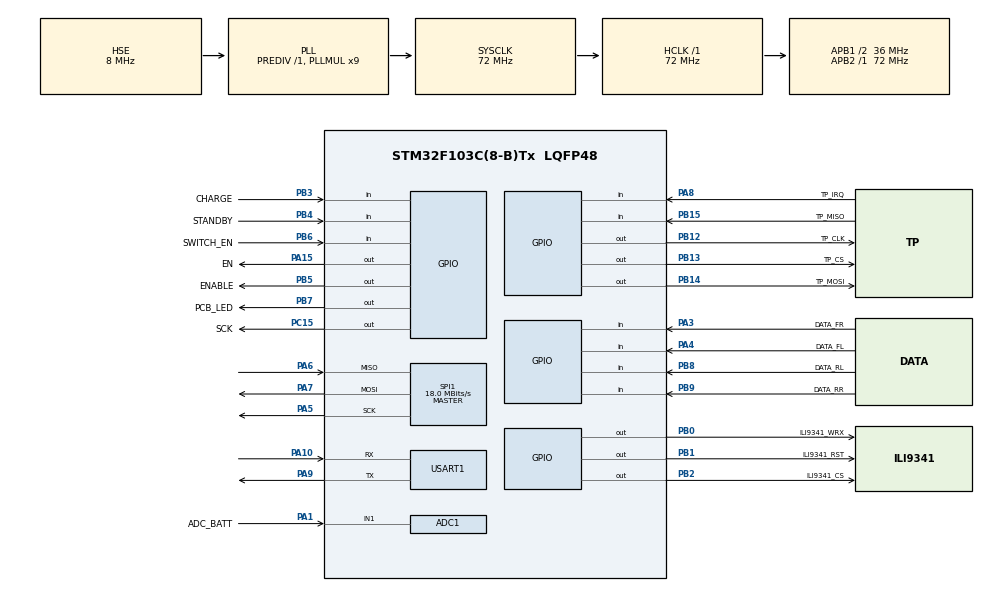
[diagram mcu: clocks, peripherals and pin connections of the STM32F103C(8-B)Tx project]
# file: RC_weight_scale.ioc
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ADC1.Channel-134\#ChannelRegularConversion=ADC_CHANNEL_1
ADC1.ContinuousConvMode=ENABLE
ADC1.DataAlign=ADC_DATAALIGN_RIGHT
ADC1.DiscontinuousConvMode=DISABLE
ADC1.EnableAnalogWatchDog=false
ADC1.EnableRegularConversion=ENABLE
ADC1.ExternalTrigConv=ADC_SOFTWARE_START
ADC1.InjNumberOfConversion=0
ADC1.NbrOfConversion=1
ADC1.NbrOfConversionFlag=1
ADC1.Rank-134\#ChannelRegularConversion=1
ADC1.SamplingTime-134\#ChannelRegularConversion=ADC_SAMPLETIME_71CYCLES_5
ADC1.ScanConvMode=ADC_SCAN_DISABLE
ADC1.master=1
Dma.ADC1.0.Direction=DMA_PERIPH_TO_MEMORY
Dma.ADC1.0.Instance=DMA1_Channel1
Dma.ADC1.0.MemDataAlignment=DMA_MDATAALIGN_WORD
Dma.ADC1.0.MemInc=DMA_MINC_ENABLE
Dma.ADC1.0.Mode=DMA_CIRCULAR
Dma.ADC1.0.PeriphDataAlignment=DMA_PDATAALIGN_WORD
Dma.ADC1.0.PeriphInc=DMA_PINC_DISABLE
Dma.ADC1.0.Priority=DMA_PRIORITY_LOW
Dma.Request0=ADC1
IWDG.Prescaler=IWDG_PRESCALER_64
Mcu.Family=STM32F1
Mcu.Name=STM32F103C(8-B)Tx
Mcu.Package=LQFP48
NVIC.DMA1_Channel1_IRQn=true\:0\:0\:false\:false\:true\:false
NVIC.PVD_IRQn=true\:0\:0\:false\:false\:true\:true
NVIC.PriorityGroup=NVIC_PRIORITYGROUP_4
NVIC.TIM1_UP_IRQn=true\:0\:0\:false\:false\:true\:true
PA1.GPIO_Label=ADC_BATT
PA1.Signal=ADCx_IN1
PA10.Mode=Asynchronous
PA10.Signal=USART1_RX
PA13.Mode=Serial_Wire
PA13.Signal=SYS_JTMS-SWDIO
PA14.Mode=Serial_Wire
PA14.Signal=SYS_JTCK-SWCLK
PA15.GPIO_Label=EN
PA15.Signal=GPIO_Output
PA3.GPIO_Label=DATA_FR
PA3.Signal=GPIO_Input
PA4.GPIO_Label=DATA_FL
PA4.Signal=GPIO_Input
PA5.Mode=Full_Duplex_Master
PA5.Signal=SPI1_SCK
PA6.Mode=Full_Duplex_Master
PA6.Signal=SPI1_MISO
PA7.Mode=Full_Duplex_Master
PA7.Signal=SPI1_MOSI
PA8.GPIO_Label=TP_IRQ
PA8.Signal=GPIO_Input
PA9.Mode=Asynchronous
PA9.Signal=USART1_TX
PB0.GPIO_Label=ILI9341_WRX
PB0.Signal=GPIO_Output
PB1.GPIO_Label=ILI9341_RST
PB1.Signal=GPIO_Output
PB12.GPIO_Label=TP_CLK
PB12.Signal=GPIO_Output
PB13.GPIO_Label=TP_CS
PB13.Signal=GPIO_Output
PB14.GPIO_Label=TP_MOSI
PB14.Signal=GPIO_Output
PB15.GPIO_Label=TP_MISO
PB15.Signal=GPIO_Input
PB2.GPIO_Label=ILI9341_CS
PB2.Signal=GPIO_Output
PB3.GPIO_Label=CHARGE
PB3.Signal=GPIO_Input
PB4.GPIO_Label=STANDBY
PB4.Signal=GPIO_Input
PB5.GPIO_Label=ENABLE
PB5.PinState=GPIO_PIN_SET
PB5.Signal=GPIO_Output
PB6.GPIO_Label=SWITCH_EN
PB6.GPIO_PuPd=GPIO_PULLDOWN
PB6.Signal=GPIO_Input
PB7.GPIO_Label=PCB_LED
PB7.Signal=GPIO_Output
PB8.GPIO_Label=DATA_RL
PB8.Signal=GPIO_Input
PB9.GPIO_Label=DATA_RR
PB9.Signal=GPIO_Input
PC15-OSC32_OUT.GPIO_Label=SCK
PC15-OSC32_OUT.Signal=GPIO_Output
PD0-OSC_IN.Mode=HSE-External-Oscillator
PD0-OSC_IN.Signal=RCC_OSC_IN
PD1-OSC_OUT.Mode=HSE-External-Oscillator
PD1-OSC_OUT.Signal=RCC_OSC_OUT
ProjectManager.HeapSize=0x200
ProjectManager.StackSize=0x400
ProjectManager.TargetToolchain=SW4STM32
RCC.ADCPresc=RCC_ADCPCLK2_DIV6
RCC.AHBFreq_Value=72000000
RCC.APB1CLKDivider=RCC_HCLK_DIV2
RCC.APB1Freq_Value=36000000
RCC.APB1TimFreq_Value=72000000
RCC.APB2Freq_Value=72000000
RCC.APB2TimFreq_Value=72000000
RCC.HCLKFreq_Value=72000000
RCC.PLLMUL=RCC_PLL_MUL9
RCC.PLLSourceVirtual=RCC_PLLSOURCE_HSE
RCC.SYSCLKFreq_VALUE=72000000
RCC.SYSCLKSource=RCC_SYSCLKSOURCE_PLLCLK
RCC.USBFreq_Value=48000000
RCC.USBPrescaler=RCC_USBCLKSOURCE_PLL_DIV1_5
SH.ADCx_IN1.0=ADC1_IN1,IN1
SPI1.BaudRatePrescaler=SPI_BAUDRATEPRESCALER_4
SPI1.CalculateBaudRate=18.0 MBits/s
SPI1.Direction=SPI_DIRECTION_2LINES
SPI1.Mode=SPI_MODE_MASTER
SPI1.VirtualType=VM_MASTER
TIM1.Period=1000
TIM1.Prescaler=71
USART1.VirtualMode=VM_ASYNC
VP_CRC_VS_CRC.Mode=CRC_Activate
VP_IWDG_VS_IWDG.Mode=IWDG_Activate
VP_TIM1_VS_ClockSourceINT.Mode=Internal
board=RC_weight_scale

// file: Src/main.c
/**
 ******************************************************************************
 * @file           : main.c
 * @brief          : Main program body
 ******************************************************************************
 ** This notice applies to any and all portions of this file
 * that are not between comment pairs USER CODE BEGIN and
 * USER CODE END. Other portions of this file, whether
 * inserted by the user or by software development tools
 * are owned by their respective copyright owners.
 *
 * COPYRIGHT(c) 2018 STMicroelectronics
 *
 * Redistribution and use in source and binary forms, with or without modification,
 * are permitted provided that the following conditions are met:
 *   1. Redistributions of source code must retain the above copyright notice,
 *      this list of conditions and the following disclaimer.
 *   2. Redistributions in binary form must reproduce the above copyright notice,
 *      this list of conditions and the following disclaimer in the documentation
 *      and/or other materials provided with the distribution.
 *   3. Neither the name of STMicroelectronics nor the names of its contributors
 *      may be used to endorse or promote products derived from this software
 *      without specific prior written permission.
 *
 * THIS SOFTWARE IS PROVIDED BY THE COPYRIGHT HOLDERS AND CONTRIBUTORS "AS IS"
 * AND ANY EXPRESS OR IMPLIED WARRANTIES, INCLUDING, BUT NOT LIMITED TO, THE
 * IMPLIED WARRANTIES OF MERCHANTABILITY AND FITNESS FOR A PARTICULAR PURPOSE ARE
 * DISCLAIMED. IN NO EVENT SHALL THE COPYRIGHT HOLDER OR CONTRIBUTORS BE LIABLE
 * FOR ANY DIRECT, INDIRECT, INCIDENTAL, SPECIAL, EXEMPLARY, OR CONSEQUENTIAL
 * DAMAGES (INCLUDING, BUT NOT LIMITED TO, PROCUREMENT OF SUBSTITUTE GOODS OR
 * SERVICES; LOSS OF USE, DATA, OR PROFITS; OR BUSINESS INTERRUPTION) HOWEVER
 * CAUSED AND ON ANY THEORY OF LIABILITY, WHETHER IN CONTRACT, STRICT LIABILITY,
 * OR TORT (INCLUDING NEGLIGENCE OR OTHERWISE) ARISING IN ANY WAY OUT OF THE USE
 * OF THIS SOFTWARE, EVEN IF ADVISED OF THE POSSIBILITY OF SUCH DAMAGE.
 *
 ******************************************************************************
 */
#include "main.h"
#include "stm32f1xx_hal.h"
#include "adc.h"
#include "crc.h"
#include "dma.h"
#include "iwdg.h"
#include "spi.h"
#include "tim.h"
#include "usart.h"
#include "gpio.h"

/* USER CODE BEGIN Includes */
#include "time.h"
#include "hx711.h"
#include "tm_stm32_ili9341.h"
#include "ILI9341_STM32_Driver.h"
#include "ILI9341_GFX.h"
#include "ILI9341_Touchscreen.h"
#include "menu.h"
#include "time.h"
#include "flash_ee.h"
#include "FlashEE.h"
#include <math.h>
#include "flash.h"
//#include "core_cm0.h"
/* USER CODE END Includes */

/* USER CODE BEGIN PV */
/* Private variables ---------------------------------------------------------*/
uint8_t ch;
static uint8_t wait_tmr = NO_TIMER, turn_off_tmr = NO_TIMER;
uint8_t pwm_value = 0;
bool countup = 1;

flash_ee_t gram;

uint8_t turn_off = 1;

uint16_t battery_voltage;
uint16_t ADC1_buf[2];
/* USER CODE END PV */

void SystemClock_Config(void);

/* USER CODE BEGIN PFP */
/* Private function prototypes -----------------------------------------------*/

/* USER CODE END PFP */

int main(void)
{

	/* MCU Configuration----------------------------------------------------------*/

	/* Reset of all peripherals, Initializes the Flash interface and the Systick. */
	HAL_Init();

	/* Configure the system clock */
	SystemClock_Config();

	/* Initialize all configured peripherals */
	MX_GPIO_Init();
	MX_DMA_Init();
	MX_USART1_UART_Init();
	MX_IWDG_Init();
	MX_TIM1_Init();
	MX_SPI1_Init();
	MX_ADC1_Init();
	MX_CRC_Init();
	/* USER CODE BEGIN 2 */
	HAL_IWDG_Init(&hiwdg);

	TM_ILI9341_Init();

	printf("\r\n");
	printf("RC weight scale V0.1\r\n");
	printf(__TIME__);
	printf("\r\n");
	printf(__DATE__);
	printf("\r\n");
	printf("\r\n");

	if (RCC->CSR & RCC_CSR_IWDGRSTF)
		printf("WDT reboot\r\n");
	RCC->CSR = RCC_CSR_RMVF;

	HAL_TIM_Base_Start_IT(&htim1); // Start Timer 2 IRQ
	timer_open();

	Init_get_battery_voltage(LOW_BATTERY_VOLTAGE + 200, &battery_voltage);
	//HAL_Delay(1000);

	adc_calib();
	HAL_ADC_Start_DMA(&hadc1, (uint32_t*) ADC1_buf, 1);
	HAL_ADC_Start(&hadc1);

	EN_SET;

	/* USER CODE END 2 */

	/* Infinite loop */
	/* USER CODE BEGIN WHILE */
	while (1)
	{

		HAL_IWDG_Refresh(&hiwdg);

		menu_handler(&battery_voltage);

		touchscreen_pressed();

		if (sci1_get(&ch))
		{
			sci1_putc(ch);

			if (ch == 'a')
			{
				calibrate_scale();
				printf("zero the scale\r\n");
			}

			if (ch == 'b')
			{
				uint16_t x;
				uint16_t y;

				TP_Read_Coordinates(&x, &y);
				printf("LCD cordinates: x= %d, y= %d\r\n", x, y);
			}
			if (ch == 'c')
			{
				printf("value FR = %ld\r\n", measurement(1));
			}
			if (ch == 'd')
			{
				printf("value FL = %ld\r\n", measurement(2));
			}
			if (ch == 'e')
			{
				printf("value RR = %ld\r\n", measurement(3));
			}
			if (ch == 'f')
			{
				printf("value RL = %ld\r\n", measurement(4));
			}
			if (ch == 'g')
			{
				printf("TP4056 status: Standby= %d Charge= %d\r\n", STDBY, CHARGE);
			}
			if (ch == 'h')
			{
				gram.FL = 600;
				gram.FR = 580;
				gram.RL = 880;
				gram.RR = 950;
				printf("variables given a value\r\n");
			}
			if (ch == 'i')
			{
				if (WriteStruct2Flash(gram))
					printf("failed to write values to FLASH\r\n");

				else
					printf("values written to FLASH\r\n");

			}
			if (ch == 'j')
			{
				DumpRam(FLASH_USER_START_ADDR_ORG, 0x100);
			}
			if (ch == 'k')
			{
				flash_ee_t read;
				if (ReadStruct2Flash(&read))
				{
					printf("failed to read values to FLASH\r\n");
				}
				else
				{
					printf("FLASH values: FL= %d, FR= %d, RL= %d, RR= %d, crc= %08X\r\n", read.FL, read.FR, read.RL, read.RR, read.crc);
				}

			}
			if (ch == 'l')
			{
				printf("battery voltage= %d \r\n", battery_voltage);
			}
			if (ch == 'm')
			{
				printf("ADC= %d \r\n", ADC1_buf[0]);
			}
			if (ch == 'n')
			{
				bool standy = STDBY;
				bool opladen = CHARGE;

				printf("standy= %d, charge= %d \r\n", standy, opladen);
			}

		}

		switch (turn_off)
		{
		case 1:
			if (!SWTICH_EN)
			{
				turn_off = 2;
			}
			break;

		case 2:
			if (SWTICH_EN)
			{
				if (turn_off_tmr == NO_TIMER)
				{
					turn_off_tmr = timer_get();
					timer_start(turn_off_tmr, 50, NULL);
				}
				if (timer_elapsed(turn_off_tmr))
				{
					timer_free(&turn_off_tmr);
					turn_off = 3;
				}
			}
			if (battery_voltage < LOW_BATTERY_VOLTAGE)
			{
				EN_RESET;
				ENABLE_RESET;
			}
			break;

		case 3:
			if (!SWTICH_EN)
			{
				EN_RESET;
				ENABLE_RESET;
			}
			break;
		}

		if (wait_tmr == NO_TIMER)
		{
			wait_tmr = timer_get();
			timer_start(wait_tmr, 100, NULL);
		}

		if (timer_elapsed(wait_tmr))
		{
			timer_start(wait_tmr, 100, NULL);
			PCB_LED_TOG;
			get_battery_voltage(&battery_voltage, ADC1_buf[0]);
		}
		/* USER CODE END WHILE */

	}

}

void SystemClock_Config(void)
{

	RCC_OscInitTypeDef RCC_OscInitStruct;
	RCC_ClkInitTypeDef RCC_ClkInitStruct;
	RCC_PeriphCLKInitTypeDef PeriphClkInit;

	/**Initializes the CPU, AHB and APB busses clocks
	 */
	RCC_OscInitStruct.OscillatorType = RCC_OSCILLATORTYPE_LSI | RCC_OSCILLATORTYPE_HSE;
	RCC_OscInitStruct.HSEState = RCC_HSE_ON;
	RCC_OscInitStruct.HSEPredivValue = RCC_HSE_PREDIV_DIV1;
	RCC_OscInitStruct.HSIState = RCC_HSI_ON;
	RCC_OscInitStruct.LSIState = RCC_LSI_ON;
	RCC_OscInitStruct.PLL.PLLState = RCC_PLL_ON;
	RCC_OscInitStruct.PLL.PLLSource = RCC_PLLSOURCE_HSE;
	RCC_OscInitStruct.PLL.PLLMUL = RCC_PLL_MUL9;
	if (HAL_RCC_OscConfig(&RCC_OscInitStruct) != HAL_OK)
	{
		_Error_Handler(__FILE__, __LINE__);
	}

	/**Initializes the CPU, AHB and APB busses clocks
	 */
	RCC_ClkInitStruct.ClockType = RCC_CLOCKTYPE_HCLK | RCC_CLOCKTYPE_SYSCLK | RCC_CLOCKTYPE_PCLK1 | RCC_CLOCKTYPE_PCLK2;
	RCC_ClkInitStruct.SYSCLKSource = RCC_SYSCLKSOURCE_PLLCLK;
	RCC_ClkInitStruct.AHBCLKDivider = RCC_SYSCLK_DIV1;
	RCC_ClkInitStruct.APB1CLKDivider = RCC_HCLK_DIV2;
	RCC_ClkInitStruct.APB2CLKDivider = RCC_HCLK_DIV1;

	if (HAL_RCC_ClockConfig(&RCC_ClkInitStruct, FLASH_LATENCY_2) != HAL_OK)
	{
		_Error_Handler(__FILE__, __LINE__);
	}

	PeriphClkInit.PeriphClockSelection = RCC_PERIPHCLK_ADC;
	PeriphClkInit.AdcClockSelection = RCC_ADCPCLK2_DIV6;
	if (HAL_RCCEx_PeriphCLKConfig(&PeriphClkInit) != HAL_OK)
	{
		_Error_Handler(__FILE__, __LINE__);
	}

	/**Configure the Systick interrupt time
	 */
	HAL_SYSTICK_Config(HAL_RCC_GetHCLKFreq() / 1000);

	/**Configure the Systick
	 */
	HAL_SYSTICK_CLKSourceConfig(SYSTICK_CLKSOURCE_HCLK);

	/* SysTick_IRQn interrupt configuration */
	HAL_NVIC_SetPriority(SysTick_IRQn, 0, 0);
}

void _Error_Handler(char *file, int line)
{
	while (1)
	{
	}
}

/************************ (C) COPYRIGHT STMicroelectronics *****END OF FILE****/
